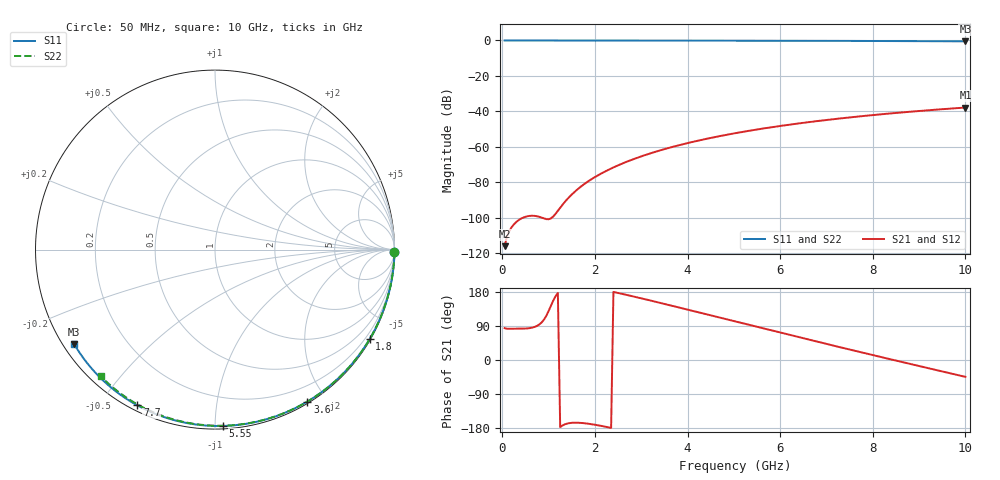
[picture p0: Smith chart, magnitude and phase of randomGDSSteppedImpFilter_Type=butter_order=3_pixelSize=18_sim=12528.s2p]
! freq	dB(S11)	phase(S11)	dB(S12)	phase(S12)
!  dB(S21)	phase(S21)	dB(S22)	phase(S22)
!S-par simulation data
#  GHz  S  DB  R 50
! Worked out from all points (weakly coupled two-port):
!   200 points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, 50 MHz to 10 GHz, reference 50 ohm
!   highest |S21| = -37.82 dB at 10 GHz (marker M1); lowest = -116.0 dB at 50 MHz (marker M2)
!   lowest |S11| = -0.5 dB at 10 GHz (marker M3), VSWR 35.23, Z = 1.55 - j15.2 ohm
!   |S11| at or under -10 dB: nowhere
!   |S22| runs from -0.4 to 0.0 dB; largest |S21 - S12| = 0
!   S11 on the Smith chart (normalised r, x): 50 MHz: open; 1.8 GHz: 0.03, -3.72; 3.6 GHz: 0.02, -1.78; 5.55 GHz: 0.02, -1.05; 7.7 GHz: 0.02, -0.62; 10 GHz: 0.03, -0.30
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0.05  -0.00 -0.9  -115.97 84.2  -115.97 84.2  -0.00 -0.8
0.45  -0.01 -7.6  -99.88 82.8  -99.88 82.8  -0.01 -6.9
0.9  -0.02 -15.2  -100.35 106.6  -100.35 106.6  -0.02 -13.7
1.3  -0.03 -21.9  -92.62 -172.8  -92.62 -172.8  -0.02 -19.7
1.75  -0.04 -29.3  -81.34 -166.6  -81.34 -166.6  -0.03 -26.4
1.8  -0.04 -30.1  -80.40 -167.2  -80.40 -167.2  -0.03 -27.1
1.85  -0.04 -30.9  -79.51 -168.0  -79.51 -168.0  -0.04 -27.8
2.05  -0.04 -34.2  -76.26 -171.9  -76.26 -171.9  -0.04 -30.8
2.2  -0.05 -36.6  -74.13 -175.4  -74.13 -175.4  -0.04 -33.0
2.55  -0.05 -42.2  -69.84 175.6  -69.84 175.6  -0.05 -38.1
2.95  -0.06 -48.6  -65.81 164.3  -65.81 164.3  -0.06 -43.8
3.4  -0.07 -55.6  -62.03 151.0  -62.03 151.0  -0.07 -50.2
3.6  -0.08 -58.7  -60.54 145.0  -60.54 145.0  -0.07 -53.0
4.3  -0.10 -69.3  -56.07 123.8  -56.07 123.8  -0.09 -62.6
5.05  -0.12 -80.3  -52.18 101.0  -52.18 101.0  -0.11 -72.6
5.55  -0.14 -87.4  -49.98 85.8  -49.98 85.8  -0.13 -79.1
6.1  -0.17 -95.0  -47.84 69.3  -47.84 69.3  -0.15 -86.1
6.7  -0.20 -103.2  -45.78 51.3  -45.78 51.3  -0.18 -93.6
7.7  -0.27 -116.5  -42.85 21.8  -42.85 21.8  -0.24 -105.6
8.35  -0.32 -124.9  -41.22 2.8  -41.22 2.8  -0.29 -113.3
9.2  -0.40 -135.9  -39.35 -21.6  -39.35 -21.6  -0.36 -123.0
10  -0.49 -146.1  -37.82 -44.5  -37.82 -44.5  -0.45 -132.1
